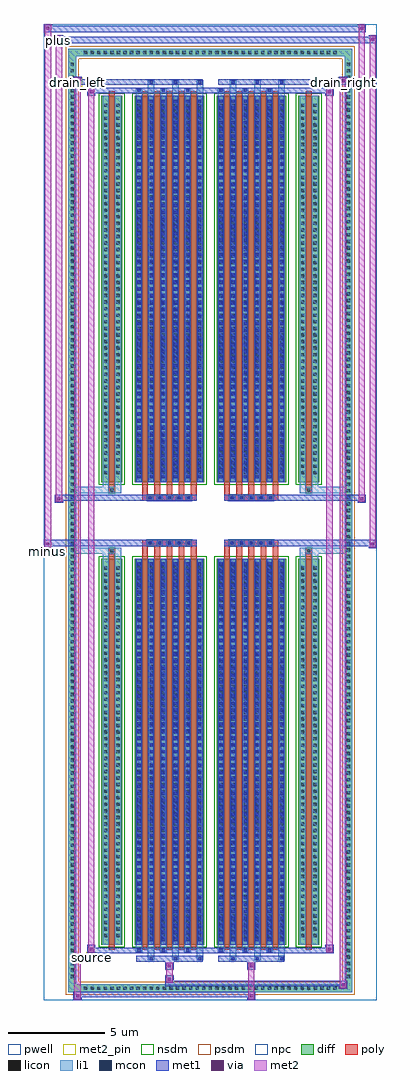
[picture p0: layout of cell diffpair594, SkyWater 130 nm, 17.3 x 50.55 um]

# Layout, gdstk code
import gdstk
lib = gdstk.Library(unit=1e-6, precision=5e-09)
def R(c, l, rs):  # rectangles x0, y0, x1, y1
    for r in rs: c.add(gdstk.rectangle(r[:2], r[2:], *l))
def A(c, l, x, y, w, h, nx, ny, dx, dy):  # array of equal rectangles
    R(c, l, [(x+i*dx, y+j*dy, x+i*dx+w, y+j*dy+h) for i in range(nx) for j in range(ny)])
def P(c, l, *ps):  # polygons
    for p in ps: c.add(gdstk.Polygon(p, *l))
pwell = (64, 44)
diff = (65, 20)
poly = (66, 20)
licon = (66, 44)
li1 = (67, 20)
mcon = (67, 44)
met1 = (68, 20)
via = (68, 44)
met2_pin = (69, 16)
met2 = (69, 20)
nsdm = (93, 44)
psdm = (94, 20)
npc = (95, 20)

diffpair594 = lib.new_cell('diffpair594')
R(diffpair594, pwell, [(-8.63,-24.84,8.63,25.71), (-5.95,-23.03,-0.01,-0.805), (0.01,-23.03,5.95,-0.805), (-5.95,0.805,-0.01,23.03), (0.01,0.805,5.95,23.03)])
A(diffpair594, diff, -6.665, -24.44, 0.41, 0.41, 39, 2, 0.34, 48.47)
A(diffpair594, diff, -7.36, -23.835, 0.41, 0.41, 1, 140, 0, 0.34)
A(diffpair594, diff, 6.95, -23.835, 0.41, 0.41, 1, 140, 0, 0.34)
R(diffpair594, diff, [(-6.665,-24.44,6.665,-24.03), (-7.36,-23.835,-6.95,23.835), (6.95,-23.835,7.36,23.835), (-5.64,-21.985,-4.56,-1.985), (-3.92,-21.985,-0.32,-1.985), (0.32,-21.985,3.92,-1.985), (4.56,-21.985,5.64,-1.985), (-5.64,1.985,-4.56,21.985), (-3.92,1.985,-0.32,21.985), (0.32,1.985,3.92,21.985), (4.56,1.985,5.64,21.985), (-6.665,24.03,6.665,24.44)])
P(diffpair594, diff, [(7.36,24.44),(-7.36,24.44),(-7.36,-24.03),(-6.95,-24.03),(-6.95,24.03),(6.95,24.03),(6.95,-24.03),(-6.95,-24.03),(-7.36,-24.03),(-7.36,-24.44),(7.36,-24.44)])
A(diffpair594, poly, -3.53, -22.235, 0.3, 20.5, 5, 2, 0.63, 23.97)
A(diffpair594, poly, 0.71, -22.235, 0.3, 20.5, 5, 2, 0.63, 23.97)
A(diffpair594, poly, -3.53, -1.735, 0.3, 0.4, 5, 2, 0.63, 3.07)
A(diffpair594, poly, 0.71, -1.735, 0.3, 0.4, 5, 2, 0.63, 3.07)
A(diffpair594, poly, -3.285, -1.335, 0.33, 0.33, 5, 2, 0.5, 2.34)
A(diffpair594, poly, 0.955, -1.335, 0.33, 0.33, 5, 2, 0.5, 2.34)
R(diffpair594, poly, [(-5.25,-22.235,-4.95,-1.735), (4.95,-22.235,5.25,-1.735), (-5.265,-1.735,-4.935,-1.405), (-5.265,-1.735,-4.935,-1.405), (4.935,-1.735,5.265,-1.405), (4.935,-1.735,5.265,-1.405), (-3.53,-1.335,-0.71,-1.005), (0.71,-1.335,3.53,-1.005), (-3.53,1.005,-0.71,1.335), (0.71,1.005,3.53,1.335), (-5.265,1.405,-4.935,1.735), (-5.265,1.405,-4.935,1.735), (4.935,1.405,5.265,1.735), (4.935,1.405,5.265,1.735), (-5.25,1.735,-4.95,22.235), (4.95,1.735,5.25,22.235)])
A(diffpair594, licon, -6.545, -24.32, 0.17, 0.17, 39, 2, 0.34, 48.47)
A(diffpair594, licon, -7.24, -23.715, 0.17, 0.17, 1, 140, 0, 0.34)
A(diffpair594, licon, 7.07, -23.715, 0.17, 0.17, 1, 140, 0, 0.34)
A(diffpair594, licon, -5.5, -21.59, 0.17, 0.17, 1, 57, 0, 0.34)
A(diffpair594, licon, -4.87, -21.59, 0.17, 0.17, 1, 57, 0, 0.34)
A(diffpair594, licon, -3.78, -21.59, 0.17, 0.17, 6, 57, 0.63, 0.34)
A(diffpair594, licon, 0.46, -21.59, 0.17, 0.17, 6, 57, 0.63, 0.34)
A(diffpair594, licon, 4.7, -21.59, 0.17, 0.17, 1, 57, 0, 0.34)
A(diffpair594, licon, 5.33, -21.59, 0.17, 0.17, 1, 57, 0, 0.34)
A(diffpair594, licon, -3.205, -1.255, 0.17, 0.17, 5, 2, 0.5, 2.34)
A(diffpair594, licon, 1.035, -1.255, 0.17, 0.17, 5, 2, 0.5, 2.34)
A(diffpair594, licon, -5.5, 2.38, 0.17, 0.17, 1, 57, 0, 0.34)
A(diffpair594, licon, -4.87, 2.38, 0.17, 0.17, 1, 57, 0, 0.34)
A(diffpair594, licon, -3.78, 2.38, 0.17, 0.17, 6, 57, 0.63, 0.34)
A(diffpair594, licon, 0.46, 2.38, 0.17, 0.17, 6, 57, 0.63, 0.34)
A(diffpair594, licon, 4.7, 2.38, 0.17, 0.17, 1, 57, 0, 0.34)
A(diffpair594, licon, 5.33, 2.38, 0.17, 0.17, 1, 57, 0, 0.34)
R(diffpair594, licon, [(-5.185,-1.655,-5.015,-1.485), (5.015,-1.655,5.185,-1.485), (-5.185,1.485,-5.015,1.655), (5.015,1.485,5.185,1.655)])
A(diffpair594, li1, -6.625, -24.4, 0.33, 0.33, 39, 2, 0.34, 48.47)
A(diffpair594, li1, -7.32, -23.795, 0.33, 0.33, 1, 140, 0, 0.34)
A(diffpair594, li1, 6.99, -23.795, 0.33, 0.33, 1, 140, 0, 0.34)
A(diffpair594, li1, -3.23, -22.79, 0.33, 0.805, 3, 2, 1.26, 44.775)
A(diffpair594, li1, -3.15, -22.79, 0.17, 0.17, 3, 2, 1.26, 45.41)
A(diffpair594, li1, 1.01, -22.79, 0.33, 0.805, 3, 2, 1.26, 44.775)
A(diffpair594, li1, 1.09, -22.79, 0.17, 0.17, 3, 2, 1.26, 45.41)
A(diffpair594, li1, -3.86, -22.36, 0.33, 0.375, 3, 2, 1.26, 44.345)
A(diffpair594, li1, -3.78, -22.36, 0.17, 0.17, 3, 2, 1.26, 44.55)
A(diffpair594, li1, 0.38, -22.36, 0.33, 0.375, 3, 2, 1.26, 44.345)
A(diffpair594, li1, 0.46, -22.36, 0.17, 0.17, 3, 2, 1.26, 44.55)
A(diffpair594, li1, -3.86, -21.985, 0.33, 20, 6, 2, 0.63, 23.97)
A(diffpair594, li1, 0.38, -21.985, 0.33, 20, 6, 2, 0.63, 23.97)
A(diffpair594, li1, -3.78, -21.79, 0.17, 0.17, 6, 55, 0.63, 0.36)
A(diffpair594, li1, -3.78, -21.79, 0.17, 19.61, 6, 2, 0.63, 23.97)
A(diffpair594, li1, 0.46, -21.79, 0.17, 0.17, 6, 55, 0.63, 0.36)
A(diffpair594, li1, 0.46, -21.79, 0.17, 19.61, 6, 2, 0.63, 23.97)
A(diffpair594, li1, -5.58, -21.67, 0.33, 0.33, 1, 57, 0, 0.34)
A(diffpair594, li1, -4.95, -21.67, 0.33, 0.33, 1, 57, 0, 0.34)
A(diffpair594, li1, -3.86, -21.67, 0.33, 0.33, 6, 57, 0.63, 0.34)
A(diffpair594, li1, 0.38, -21.67, 0.33, 0.33, 6, 57, 0.63, 0.34)
A(diffpair594, li1, 4.62, -21.67, 0.33, 0.33, 1, 57, 0, 0.34)
A(diffpair594, li1, 5.25, -21.67, 0.33, 0.33, 1, 57, 0, 0.34)
A(diffpair594, li1, -3.285, -1.335, 0.33, 0.33, 5, 2, 0.5, 2.34)
A(diffpair594, li1, 0.955, -1.335, 0.33, 0.33, 5, 2, 0.5, 2.34)
A(diffpair594, li1, -3.78, 2.18, 0.17, 0.17, 6, 55, 0.63, 0.36)
A(diffpair594, li1, 0.46, 2.18, 0.17, 0.17, 6, 55, 0.63, 0.36)
A(diffpair594, li1, -5.58, 2.3, 0.33, 0.33, 1, 57, 0, 0.34)
A(diffpair594, li1, -4.95, 2.3, 0.33, 0.33, 1, 57, 0, 0.34)
A(diffpair594, li1, -3.86, 2.3, 0.33, 0.33, 6, 57, 0.63, 0.34)
A(diffpair594, li1, 0.38, 2.3, 0.33, 0.33, 6, 57, 0.63, 0.34)
A(diffpair594, li1, 4.62, 2.3, 0.33, 0.33, 1, 57, 0, 0.34)
A(diffpair594, li1, 5.25, 2.3, 0.33, 0.33, 1, 57, 0, 0.34)
R(diffpair594, li1, [(-7.36,-24.44,-6.95,-24.03), (-7.36,-24.44,-6.95,-24.03), (-6.95,-24.44,6.95,-24.03), (6.95,-24.44,7.36,-24.03), (6.95,-24.44,7.36,-24.03), (-7.36,-24.03,-6.95,24.03), (6.95,-24.03,7.36,24.03), (-5.58,-21.985,-5.25,-1.985), (-4.95,-21.985,-4.62,-1.985), (4.62,-21.985,4.95,-1.985), (5.25,-21.985,5.58,-1.985), (-5.58,-1.985,-5.25,-1.405), (-4.95,-1.985,-4.62,-1.405), (4.62,-1.985,4.95,-1.405), (5.25,-1.985,5.58,-1.405), (-7.36,-1.735,-5.265,-1.405), (-5.58,-1.735,-5.265,-1.405), (-5.265,-1.735,-4.935,-1.405), (-4.935,-1.735,-4.62,-1.405), (4.62,-1.735,4.935,-1.405), (4.935,-1.735,5.265,-1.405), (4.935,-1.735,7.36,-1.405), (5.265,-1.735,5.58,-1.405), (-7.36,1.405,-5.265,1.735), (-5.58,1.405,-5.265,1.735), (-5.58,1.405,-5.25,1.985), (-5.265,1.405,-4.935,1.735), (-4.95,1.405,-4.62,1.985), (-4.935,1.405,-4.62,1.735), (4.62,1.405,4.935,1.735), (4.62,1.405,4.95,1.985), (4.935,1.405,5.265,1.735), (4.935,1.405,7.36,1.735), (5.25,1.405,5.58,1.985), (5.265,1.405,5.58,1.735), (-5.58,1.985,-5.25,21.985), (-4.95,1.985,-4.62,21.985), (4.62,1.985,4.95,21.985), (5.25,1.985,5.58,21.985), (-7.36,24.03,-6.95,24.44), (-7.36,24.03,-6.95,24.44), (-6.95,24.03,6.95,24.44), (6.95,24.03,7.36,24.44), (6.95,24.03,7.36,24.44)])
A(diffpair594, mcon, -3.15, -22.79, 0.17, 0.17, 3, 2, 1.26, 45.41)
A(diffpair594, mcon, 1.09, -22.79, 0.17, 0.17, 3, 2, 1.26, 45.41)
A(diffpair594, mcon, -3.78, -22.36, 0.17, 0.17, 3, 2, 1.26, 44.55)
A(diffpair594, mcon, 0.46, -22.36, 0.17, 0.17, 3, 2, 1.26, 44.55)
A(diffpair594, mcon, -3.78, -21.79, 0.17, 0.17, 6, 55, 0.63, 0.36)
A(diffpair594, mcon, 0.46, -21.79, 0.17, 0.17, 6, 55, 0.63, 0.36)
A(diffpair594, mcon, -3.205, -1.255, 0.17, 0.17, 5, 2, 0.5, 2.34)
A(diffpair594, mcon, 1.035, -1.255, 0.17, 0.17, 5, 2, 0.5, 2.34)
A(diffpair594, mcon, -3.78, 2.18, 0.17, 0.17, 6, 55, 0.63, 0.36)
A(diffpair594, mcon, 0.46, 2.18, 0.17, 0.17, 6, 55, 0.63, 0.36)
A(diffpair594, met1, -3.21, -22.85, 0.29, 0.29, 3, 2, 1.26, 45.41)
A(diffpair594, met1, 1.03, -22.85, 0.29, 0.29, 3, 2, 1.26, 45.41)
A(diffpair594, met1, -3.84, -22.42, 0.29, 0.29, 3, 2, 1.26, 44.55)
A(diffpair594, met1, 0.4, -22.42, 0.29, 0.29, 3, 2, 1.26, 44.55)
A(diffpair594, met1, -3.84, -21.985, 0.29, 20, 6, 2, 0.63, 23.97)
A(diffpair594, met1, 0.4, -21.985, 0.29, 20, 6, 2, 0.63, 23.97)
A(diffpair594, met1, -3.84, -21.85, 0.29, 0.29, 6, 55, 0.63, 0.36)
A(diffpair594, met1, 0.4, -21.85, 0.29, 0.29, 6, 55, 0.63, 0.36)
A(diffpair594, met1, -3.265, -1.315, 0.29, 0.29, 5, 2, 0.5, 2.34)
A(diffpair594, met1, 0.975, -1.315, 0.29, 0.29, 5, 2, 0.5, 2.34)
A(diffpair594, met1, -3.84, 2.12, 0.29, 0.29, 6, 55, 0.63, 0.36)
A(diffpair594, met1, 0.4, 2.12, 0.29, 0.29, 6, 55, 0.63, 0.36)
R(diffpair594, met1, [(-7.09,-24.84,-6.66,-24.41), (1.905,-24.84,2.335,-24.41), (-7.09,-24.7,2.335,-24.41), (6.66,-24.27,7.09,-23.84), (-2.335,-24.13,7.09,-23.84), (-2.335,-23.99,-1.905,-23.56), (-2.335,-23.28,-1.905,-22.85), (1.905,-23.28,2.335,-22.85), (-3.84,-22.85,-0.4,-22.56), (0.4,-22.85,3.84,-22.56), (-6.38,-22.42,-5.95,-21.99), (-6.38,-22.42,-3.84,-22.13), (-3.84,-22.42,-0.4,-22.13), (-0.4,-22.42,0.4,-22.13), (0.4,-22.42,3.84,-22.13), (3.84,-22.42,6.38,-22.13), (5.95,-22.42,6.38,-21.99), (-8.63,-1.435,-8.2,-1.005), (8.2,-1.435,8.63,-1.005), (-8.63,-1.335,-0.71,-1.005), (-3.53,-1.335,-0.71,-1.005), (0.71,-1.335,3.53,-1.005), (0.71,-1.335,8.63,-1.005), (-8.06,0.905,-7.63,1.335), (7.63,0.905,8.06,1.335), (-8.06,1.005,-3.53,1.335), (-3.53,1.005,-0.71,1.335), (0.71,1.005,3.53,1.335), (3.53,1.005,8.06,1.335), (-6.38,21.99,-5.95,22.42), (5.95,21.99,6.38,22.42), (-6.38,22.13,-3.84,22.42), (-3.84,22.13,-0.4,22.42), (-0.4,22.13,0.4,22.42), (0.4,22.13,3.84,22.42), (3.84,22.13,6.38,22.42), (-7.09,22.56,-6.66,22.99), (-7.09,22.56,-3.84,22.85), (-3.84,22.56,-0.4,22.85), (0.4,22.56,3.84,22.85), (3.84,22.56,7.09,22.85), (6.66,22.56,7.09,22.99), (-8.06,24.71,-7.63,25.14), (-8.06,24.71,-5.95,25.04), (-5.95,24.71,5.95,25.04), (5.95,24.71,8.63,25.04), (8.2,24.71,8.63,25.14), (-8.63,25.28,-8.2,25.71), (-8.63,25.28,-5.95,25.61), (-5.95,25.28,5.95,25.61), (5.95,25.28,8.06,25.61), (7.63,25.28,8.06,25.71)])
R(diffpair594, via, [(-6.95,-24.7,-6.8,-24.55), (2.045,-24.7,2.195,-24.55), (6.8,-24.13,6.95,-23.98), (-2.195,-23.85,-2.045,-23.7), (-2.195,-23.14,-2.045,-22.99), (2.045,-23.14,2.195,-22.99), (-6.24,-22.28,-6.09,-22.13), (6.09,-22.28,6.24,-22.13), (-8.49,-1.295,-8.34,-1.145), (8.34,-1.295,8.49,-1.145), (-7.92,1.045,-7.77,1.195), (7.77,1.045,7.92,1.195), (-6.24,22.13,-6.09,22.28), (6.09,22.13,6.24,22.28), (-6.95,22.7,-6.8,22.85), (6.8,22.7,6.95,22.85), (-7.92,24.85,-7.77,25), (8.34,24.85,8.49,25), (-8.49,25.42,-8.34,25.57), (7.77,25.42,7.92,25.57)])
R(diffpair594, met2_pin, [(-6.415,-22.87,-5.915,-22.37), (-8.665,-1.885,-8.165,-1.385), (-7.125,22.44,-6.625,22.94), (6.625,22.44,7.125,22.94), (-8.095,24.59,-7.595,25.09)])
R(diffpair594, met2, [(-7.04,-24.79,-6.71,-24.46), (-7.04,-24.79,-6.71,22.94), (1.955,-24.79,2.285,-24.46), (1.955,-24.46,2.285,-23.23), (6.71,-24.22,7.04,-23.89), (6.71,-24.22,7.04,22.94), (-2.285,-23.94,-1.955,-23.61), (-2.285,-23.61,-1.955,-23.23), (-2.285,-23.23,-1.955,-22.9), (1.955,-23.23,2.285,-22.9), (-6.33,-22.37,-6,-22.04), (-6.33,-22.37,-6,22.37), (6,-22.37,6.33,-22.04), (6,-22.37,6.33,22.37), (-8.58,-1.385,-8.25,-1.055), (-8.58,-1.385,-8.25,25.66), (8.25,-1.385,8.58,-1.055), (8.25,-1.385,8.58,25.09), (-8.01,0.955,-7.68,1.285), (-8.01,0.955,-7.68,25.09), (7.68,0.955,8.01,1.285), (7.68,0.955,8.01,25.66), (-6.33,22.04,-6,22.37), (6,22.04,6.33,22.37), (-7.04,22.61,-6.71,22.94), (6.71,22.61,7.04,22.94), (-8.01,24.76,-7.68,25.09), (8.25,24.76,8.58,25.09), (-8.58,25.33,-8.25,25.66), (7.68,25.33,8.01,25.66)])
P(diffpair594, met2, [(8.58,-1.385),(8.58,-1.385),(8.58,-1.055),(8.58,-1.055)],
  [(8.58,24.76),(8.58,24.76),(8.58,25.09),(8.58,25.09)],
  [(-8.25,-1.385),(-8.25,-1.385),(-8.25,-1.055),(-8.25,-1.055)],
  [(-8.25,25.33),(-8.25,25.33),(-8.25,25.66),(-8.25,25.66)],
  [(8.01,0.955),(8.01,0.955),(8.01,1.285),(8.01,1.285)],
  [(8.01,25.33),(8.01,25.33),(8.01,25.66),(8.01,25.66)],
  [(-7.68,0.955),(-7.68,0.955),(-7.68,1.285),(-7.68,1.285)],
  [(-7.68,24.76),(-7.68,24.76),(-7.68,25.09),(-7.68,25.09)],
  [(-6.71,-24.79),(-6.71,-24.79),(-6.71,-24.46),(-6.71,-24.46)],
  [(-6.71,22.61),(-6.71,22.61),(-6.71,22.94),(-6.71,22.94)],
  [(7.04,-24.22),(7.04,-24.22),(7.04,-23.89),(7.04,-23.89)],
  [(7.04,22.61),(7.04,22.61),(7.04,22.94),(7.04,22.94)],
  [(-6,-22.37),(-6,-22.37),(-6,-22.04),(-6,-22.04)],
  [(-6,22.04),(-6,22.04),(-6,22.37),(-6,22.37)],
  [(6.33,-22.37),(6.33,-22.37),(6.33,-22.04),(6.33,-22.04)],
  [(6.33,22.04),(6.33,22.04),(6.33,22.37),(6.33,22.37)])
R(diffpair594, nsdm, [(-5.77,-22.115,-4.43,-1.855), (-4.05,-22.115,-0.19,-1.855), (0.19,-22.115,4.05,-1.855), (4.43,-22.115,5.77,-1.855), (-5.77,1.855,-4.43,22.115), (-4.05,1.855,-0.19,22.115), (0.19,1.855,4.05,22.115), (4.43,1.855,5.77,22.115)])
P(diffpair594, psdm, [(7.49,24.57),(-7.49,24.57),(-7.49,-23.9),(-6.82,-23.9),(-6.82,23.9),(6.82,23.9),(6.82,-23.9),(-6.82,-23.9),(-7.49,-23.9),(-7.49,-24.57),(7.49,-24.57)])
A(diffpair594, npc, -3.305, -1.355, 0.37, 0.37, 5, 2, 0.5, 2.34)
A(diffpair594, npc, 0.935, -1.355, 0.37, 0.37, 5, 2, 0.5, 2.34)
R(diffpair594, npc, [(-5.285,-1.755,-4.915,-1.385), (4.915,-1.755,5.285,-1.385), (-3.305,-1.355,-2.435,-0.985), (-3.305,-1.355,-2.435,-0.985), (-2.805,-1.355,-1.935,-0.985), (-2.805,-1.355,-1.935,-0.985), (-2.305,-1.355,-1.435,-0.985), (-2.305,-1.355,-1.435,-0.985), (-1.805,-1.355,-0.935,-0.985), (-1.805,-1.355,-0.935,-0.985), (0.935,-1.355,1.805,-0.985), (0.935,-1.355,1.805,-0.985), (1.435,-1.355,2.305,-0.985), (1.435,-1.355,2.305,-0.985), (1.935,-1.355,2.805,-0.985), (1.935,-1.355,2.805,-0.985), (2.435,-1.355,3.305,-0.985), (2.435,-1.355,3.305,-0.985), (-3.305,0.985,-2.435,1.355), (-3.305,0.985,-2.435,1.355), (-2.805,0.985,-1.935,1.355), (-2.805,0.985,-1.935,1.355), (-2.305,0.985,-1.435,1.355), (-2.305,0.985,-1.435,1.355), (-1.805,0.985,-0.935,1.355), (-1.805,0.985,-0.935,1.355), (0.935,0.985,1.805,1.355), (0.935,0.985,1.805,1.355), (1.435,0.985,2.305,1.355), (1.435,0.985,2.305,1.355), (1.935,0.985,2.805,1.355), (1.935,0.985,2.805,1.355), (2.435,0.985,3.305,1.355), (2.435,0.985,3.305,1.355), (-5.285,1.385,-4.915,1.755), (4.915,1.385,5.285,1.755)])
diffpair594.add(gdstk.Label('minus', (-8.415,-1.635), layer=69, texttype=5))
diffpair594.add(gdstk.Label('drain_right', (6.875,22.69), layer=69, texttype=5))
diffpair594.add(gdstk.Label('drain_left', (-6.875,22.69), layer=69, texttype=5))
diffpair594.add(gdstk.Label('source', (-6.165,-22.62), layer=69, texttype=5))
diffpair594.add(gdstk.Label('plus', (-7.845,24.84), layer=69, texttype=5))

lib.write_gds('diffpair594.gds')
